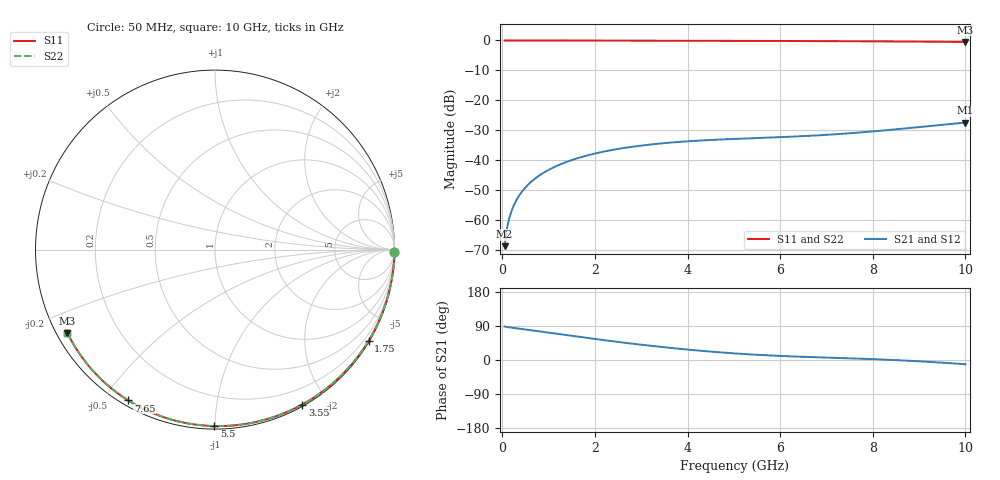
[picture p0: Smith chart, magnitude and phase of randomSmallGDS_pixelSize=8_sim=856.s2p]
! freq	dB(S11)	phase(S11)	dB(S12)	phase(S12)
!  dB(S21)	phase(S21)	dB(S22)	phase(S22)
!S-par simulation data
#  GHz  S  DB  R 50
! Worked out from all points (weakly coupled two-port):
!   200 points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, 50 MHz to 10 GHz, reference 50 ohm
!   highest |S21| = -27.46 dB at 10 GHz (marker M1); lowest = -68.8 dB at 50 MHz (marker M2)
!   lowest |S11| = -0.5 dB at 10 GHz (marker M3), VSWR 35.08, Z = 1.52 - j13.1 ohm
!   |S11| at or under -10 dB: nowhere
!   |S22| runs from -0.5 to 0.0 dB; largest |S21 - S12| = 0
!   S11 on the Smith chart (normalised r, x): 50 MHz: open; 1.75 GHz: 0.03, -3.64; 3.55 GHz: 0.02, -1.71; 5.5 GHz: 0.02, -1.00; 7.65 GHz: 0.02, -0.58; 10 GHz: 0.03, -0.26
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0.05  -0.00 -0.9  -68.80 88.3  -68.80 88.3  -0.00 -0.9
0.1  -0.00 -1.8  -62.88 87.0  -62.88 87.0  -0.00 -1.8
0.15  -0.00 -2.7  -59.44 86.1  -59.44 86.1  -0.00 -2.7
0.2  -0.00 -3.6  -56.99 85.3  -56.99 85.3  -0.00 -3.6
0.25  -0.00 -4.5  -55.09 84.5  -55.09 84.5  -0.00 -4.5
0.35  -0.00 -6.3  -52.21 83.0  -52.21 83.0  -0.00 -6.3
0.5  -0.01 -8.9  -49.16 80.5  -49.16 80.5  -0.01 -8.9
0.7  -0.01 -12.5  -46.30 77.2  -46.30 77.2  -0.01 -12.5
1  -0.02 -17.7  -43.30 72.1  -43.30 72.1  -0.02 -17.7
1.35  -0.03 -23.8  -40.85 66.2  -40.85 66.2  -0.03 -23.8
1.75  -0.04 -30.8  -38.82 59.6  -38.82 59.6  -0.04 -30.8
2.5  -0.06 -43.5  -36.28 47.7  -36.28 47.7  -0.06 -43.5
3.4  -0.08 -58.2  -34.48 34.9  -34.48 34.9  -0.08 -58.2
3.55  -0.08 -60.6  -34.27 32.9  -34.27 32.9  -0.08 -60.6
4.3  -0.10 -72.3  -33.45 24.2  -33.45 24.2  -0.10 -72.3
5.05  -0.13 -83.6  -32.90 17.1  -32.90 17.1  -0.13 -83.6
5.5  -0.15 -90.2  -32.64 13.8  -32.64 13.8  -0.15 -90.2
6.7  -0.21 -107.1  -31.84 7.5  -31.84 7.5  -0.21 -107.1
7.65  -0.27 -119.9  -30.87 3.8  -30.87 3.8  -0.27 -119.9
8.35  -0.33 -129.1  -29.94 0.5  -29.94 0.5  -0.33 -129.1
9.2  -0.41 -140.1  -28.68 -4.8  -28.68 -4.8  -0.41 -140.1
10  -0.50 -150.5  -27.46 -11.1  -27.46 -11.1  -0.50 -150.5
